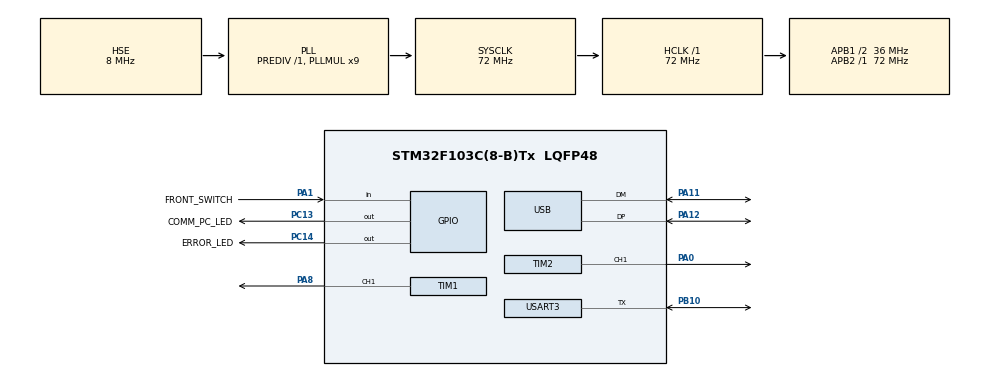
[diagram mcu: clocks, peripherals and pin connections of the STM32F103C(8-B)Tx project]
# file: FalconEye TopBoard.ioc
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Dma.Request0=TIM1_CH1
Dma.TIM1_CH1.0.Direction=DMA_MEMORY_TO_PERIPH
Dma.TIM1_CH1.0.Instance=DMA1_Channel2
Dma.TIM1_CH1.0.MemDataAlignment=DMA_MDATAALIGN_BYTE
Dma.TIM1_CH1.0.MemInc=DMA_MINC_ENABLE
Dma.TIM1_CH1.0.Mode=DMA_NORMAL
Dma.TIM1_CH1.0.PeriphDataAlignment=DMA_PDATAALIGN_HALFWORD
Dma.TIM1_CH1.0.PeriphInc=DMA_PINC_DISABLE
Dma.TIM1_CH1.0.Priority=DMA_PRIORITY_HIGH
Mcu.Family=STM32F1
Mcu.Name=STM32F103C(8-B)Tx
Mcu.Package=LQFP48
NVIC.DMA1_Channel2_IRQn=true\:0\:0\:false\:false\:true\:false\:true\:true
NVIC.PriorityGroup=NVIC_PRIORITYGROUP_4
NVIC.USB_LP_CAN1_RX0_IRQn=true\:0\:0\:false\:false\:true\:false\:true\:true
PA0-WKUP.Signal=S_TIM2_CH1_ETR
PA1.GPIO_Label=FRONT_SWITCH
PA1.Signal=GPIO_Input
PA11.Mode=Device
PA11.Signal=USB_DM
PA12.Mode=Device
PA12.Signal=USB_DP
PA8.Signal=S_TIM1_CH1
PB10.Mode=Half_duplex(single_wire_mode)
PB10.Signal=USART3_TX
PC13-TAMPER-RTC.GPIO_Label=COMM_PC_LED
PC13-TAMPER-RTC.Signal=GPIO_Output
PC14-OSC32_IN.GPIO_Label=ERROR_LED
PC14-OSC32_IN.Signal=GPIO_Output
PD0-OSC_IN.Mode=HSE-External-Oscillator
PD0-OSC_IN.Signal=RCC_OSC_IN
PD1-OSC_OUT.Mode=HSE-External-Oscillator
PD1-OSC_OUT.Signal=RCC_OSC_OUT
ProjectManager.HeapSize=0x800
ProjectManager.StackSize=0x1000
ProjectManager.TargetToolchain=STM32CubeIDE
RCC.AHBFreq_Value=72000000
RCC.APB1CLKDivider=RCC_HCLK_DIV2
RCC.APB1Freq_Value=36000000
RCC.APB1TimFreq_Value=72000000
RCC.APB2Freq_Value=72000000
RCC.APB2TimFreq_Value=72000000
RCC.HCLKFreq_Value=72000000
RCC.PLLMUL=RCC_PLL_MUL9
RCC.PLLSourceVirtual=RCC_PLLSOURCE_HSE
RCC.SYSCLKFreq_VALUE=72000000
RCC.SYSCLKSource=RCC_SYSCLKSOURCE_PLLCLK
RCC.USBFreq_Value=48000000
RCC.USBPrescaler=RCC_USBCLKSOURCE_PLL_DIV1_5
SH.S_TIM1_CH1.0=TIM1_CH1,PWM Generation1 CH1
SH.S_TIM2_CH1_ETR.0=TIM2_CH1,PWM Generation1 CH1
TIM1.Channel-PWM\ Generation1\ CH1=TIM_CHANNEL_1
TIM1.Period=75
TIM2.Channel-PWM\ Generation1\ CH1=TIM_CHANNEL_1
USART3.BaudRate=9600
USART3.VirtualMode=VM_ASYNC
USB_DEVICE.CLASS_NAME_FS=CDC
USB_DEVICE.MANUFACTURER_STRING=FalconEye
USB_DEVICE.PRODUCT_STRING_CDC_FS=FalconEye TopBoard
USB_DEVICE.VirtualMode=Cdc
USB_DEVICE.VirtualModeFS=Cdc_FS
VP_IWDG_VS_IWDG.Mode=IWDG_Activate
VP_TIM1_VS_ClockSourceINT.Mode=Internal
VP_TIM2_VS_ClockSourceINT.Mode=Internal
VP_USB_DEVICE_VS_USB_DEVICE_CDC_FS.Mode=CDC_FS
board=custom

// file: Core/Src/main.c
/* USER CODE BEGIN Header */
/**
  ******************************************************************************
  * @file           : main.c
  * @brief          : Main program body
  ******************************************************************************
  * @attention
  *
  * Copyright (c) 2023 STMicroelectronics.
  * All rights reserved.
  *
  * This software is licensed under terms that can be found in the LICENSE file
  * in the root directory of this software component.
  * If no LICENSE file comes with this software, it is provided AS-IS.
  *
  ******************************************************************************
  */
/* USER CODE END Header */
#include "main.h"
#include "dma.h"
#include "iwdg.h"
#include "tim.h"
#include "usart.h"
#include "usb_device.h"
#include "gpio.h"

/* USER CODE BEGIN Includes */
#include "ws2812b.h"
#include "ws28xx_fx.h"
#include "ds18b20.h"
#include "usbd_cdc_if.h"
#include "stdio.h"
#include "ring_buffer.h"
#include "string.h"
#include "utils.h"
#include "parser_complex.h"
#include "led_blink.h"
/* USER CODE END Includes */

/* USER CODE BEGIN PTD */
extern USBD_HandleTypeDef hUsbDeviceFS;
/* USER CODE END PTD */

/* USER CODE BEGIN PD */
#define CASE_OPEN_STATE HAL_GPIO_ReadPin(FRONT_SWITCH_GPIO_Port, FRONT_SWITCH_Pin)
/* USER CODE END PD */

/* USER CODE BEGIN PV */
const char Version[] = "1.0";

volatile uint8_t CommandToJump = 0;

int32_t Temp;
float Temperature;
uint8_t ds1[DS18B20_ROM_CODE_SIZE];
uint16_t FanPwm;
uint16_t FanSpeed;

blink_t CommPcUsb, ErrorBlink;

RingBuffer_t ReceiveBuffer;
RingBuffer_t TransmitBuffer;

uint8_t LineCounter;
uint8_t ReceivedData[RING_BUFFER_SIZE];
uint8_t TransmitData[RING_BUFFER_SIZE];

uint8_t DataToTransmit;

extern USBD_HandleTypeDef hUsbDeviceFS;

uint32_t OldTick500ms, OldTick100ms, OldTick50ms, OldTick10000ms;

volatile struct ErrorCode ErrorCode;
/* USER CODE END PV */

void SystemClock_Config(void);
/* USER CODE BEGIN PFP */
void SetLedH(uint8_t Val);
void SetLedS(uint8_t Val);
void SetLedV(uint8_t Val);
void SetLedMode(uint8_t Mode);
void SetLedDelay(uint16_t Fx, uint16_t Blink);
void SetLedRevDir(uint8_t Rev);
void SetLedGamma(uint8_t Switch);

void BootloaderJump(uint16_t Code);

void IntervalFunc10000ms(void);
void IntervalFunc500ms(void);
void IntervalFunc100ms(void);
void IntervalFunc50ms(void);

//
//Bootloader jump
//
void jump_to_application(uint32_t const app_address);
void deinit_peripherals(void);
/* USER CODE END PFP */

/* USER CODE BEGIN 0 */
void HAL_TIM_PWM_PulseFinishedCallback(TIM_HandleTypeDef *htim)
{
	if(TIM1 == htim->Instance)
	{
		HAL_TIM_PWM_Stop(&htim1, TIM_CHANNEL_1);

	}
}
/* USER CODE END 0 */

int main(void)
{
  /* USER CODE BEGIN 1 */
	__asm__ volatile("ldr r10, =0x0000");
__enable_irq(); // turn on irq
  /* USER CODE END 1 */

  /* MCU Configuration--------------------------------------------------------*/

  /* Reset of all peripherals, Initializes the Flash interface and the Systick. */
  HAL_Init();

  /* Configure the system clock */
  SystemClock_Config();

  /* Initialize all configured peripherals */
  MX_GPIO_Init();
  MX_DMA_Init();
  MX_USB_DEVICE_Init();
  MX_TIM1_Init();
  MX_USART3_UART_Init();
  MX_TIM2_Init();
  MX_IWDG_Init();
  /* USER CODE BEGIN 2 */
  OldTick500ms = HAL_GetTick();
  OldTick100ms = HAL_GetTick();
  OldTick50ms = HAL_GetTick();
  OldTick10000ms = HAL_GetTick();

  led_gamma_correction_enebled = 1;
  ws28LedFxInit(30, 100, 150, 200, 255, 2, 1);

  if (ds18b20_read_address(ds1) != HAL_OK)
  {
    ERROR_DS;
  }

  LedBlinkInit(&CommPcUsb, COMM_PC_LED_GPIO_Port, COMM_PC_LED_Pin, 20);
  LedBlinkInit(&ErrorBlink, ERROR_LED_GPIO_Port, ERROR_LED_Pin, 50);
  /* USER CODE END 2 */

  /* Infinite loop */
  /* USER CODE BEGIN WHILE */
  while (1)
  {

	  HAL_IWDG_Refresh(&hiwdg);

	  if(CommandToJump == 1)
	  {
		  jump_to_application(0x8000000);
	  }

	  if(LineCounter)
	  {
		  Parser_TakeLine(&ReceiveBuffer, ReceivedData);

		  LineCounter--;

		  Parser_parse(ReceivedData);
	  }
	  if(DataToTransmit > 0 )
	  {
		  USBD_CDC_HandleTypeDef *hcdc = (USBD_CDC_HandleTypeDef*)hUsbDeviceFS.pClassData;
		  if (hcdc->TxState == 0)
		  {
			  LedBlinkOne(&CommPcUsb);
			  UsbTransmitTask();

			  DataToTransmit--;
		  }

	  }

	  ws28Task();

	  LedBlinkTask(&CommPcUsb);
	  LedBlinkTask(&ErrorBlink);

	  IntervalFunc100ms();
	  IntervalFunc500ms();
	  IntervalFunc50ms();
	  IntervalFunc10000ms();
    /* USER CODE END WHILE */

  }
}

void SystemClock_Config(void)
{
  RCC_OscInitTypeDef RCC_OscInitStruct = {0};
  RCC_ClkInitTypeDef RCC_ClkInitStruct = {0};
  RCC_PeriphCLKInitTypeDef PeriphClkInit = {0};

  /** Initializes the RCC Oscillators according to the specified parameters
  * in the RCC_OscInitTypeDef structure.
  */
  RCC_OscInitStruct.OscillatorType = RCC_OSCILLATORTYPE_LSI|RCC_OSCILLATORTYPE_HSE;
  RCC_OscInitStruct.HSEState = RCC_HSE_ON;
  RCC_OscInitStruct.HSEPredivValue = RCC_HSE_PREDIV_DIV1;
  RCC_OscInitStruct.HSIState = RCC_HSI_ON;
  RCC_OscInitStruct.LSIState = RCC_LSI_ON;
  RCC_OscInitStruct.PLL.PLLState = RCC_PLL_ON;
  RCC_OscInitStruct.PLL.PLLSource = RCC_PLLSOURCE_HSE;
  RCC_OscInitStruct.PLL.PLLMUL = RCC_PLL_MUL9;
  if (HAL_RCC_OscConfig(&RCC_OscInitStruct) != HAL_OK)
  {
    Error_Handler();
  }

  /** Initializes the CPU, AHB and APB buses clocks
  */
  RCC_ClkInitStruct.ClockType = RCC_CLOCKTYPE_HCLK|RCC_CLOCKTYPE_SYSCLK
                              |RCC_CLOCKTYPE_PCLK1|RCC_CLOCKTYPE_PCLK2;
  RCC_ClkInitStruct.SYSCLKSource = RCC_SYSCLKSOURCE_PLLCLK;
  RCC_ClkInitStruct.AHBCLKDivider = RCC_SYSCLK_DIV1;
  RCC_ClkInitStruct.APB1CLKDivider = RCC_HCLK_DIV2;
  RCC_ClkInitStruct.APB2CLKDivider = RCC_HCLK_DIV1;

  if (HAL_RCC_ClockConfig(&RCC_ClkInitStruct, FLASH_LATENCY_2) != HAL_OK)
  {
    Error_Handler();
  }
  PeriphClkInit.PeriphClockSelection = RCC_PERIPHCLK_USB;
  PeriphClkInit.UsbClockSelection = RCC_USBCLKSOURCE_PLL_DIV1_5;
  if (HAL_RCCEx_PeriphCLKConfig(&PeriphClkInit) != HAL_OK)
  {
    Error_Handler();
  }
}

/* USER CODE BEGIN 4 */
void SetLedH(uint8_t Val)
{
	ws28xxFx.h = Val;
}
void SetLedS(uint8_t Val)
{
	ws28xxFx.s = Val;
}
void SetLedV(uint8_t Val)
{
	ws28xxFx.v = Val;
}
void SetLedMode(uint8_t Mode)
{
	ws28xxFx.Mode = Mode;
}
void SetLedDelay(uint16_t Fx, uint16_t Blink)
{
	ws28xxFx.FxDelay = Fx;
	ws28xxFx.BlinkDelay = Blink;
}
void SetLedRevDir(uint8_t Rev)
{
	ws28xxFx.ReverseDirection = Rev;
}
void SetLedGamma(uint8_t Switch)
{
	led_gamma_correction_enebled = Switch;
}

void BootloaderJump(uint16_t Code)
{
	if(Code == 1234)
	CommandToJump = 1;
}

void IntervalFunc10000ms(void)
{
	if(HAL_GetTick() - OldTick10000ms >10000)
	{
		char MsgToSend[255];

		sprintf(MsgToSend, "10/0x%lx%lx%lx/%s",
				HAL_GetUIDw2(),
				HAL_GetUIDw1(),
				HAL_GetUIDw0(),
				Version);
		UsbBuffWrite(MsgToSend);
		OldTick10000ms = HAL_GetTick();
	}
}

void IntervalFunc100ms(void)
{
	if(HAL_GetTick() - OldTick100ms >100)
	{
		char MsgToSend[255];

		sprintf(MsgToSend, "0/%u/%u/%u/%u/%u/%u/%u/%u",
				ws28xxFx.h,
				ws28xxFx.s,
				ws28xxFx.v,
				ws28xxFx.Mode,
				ws28xxFx.FxDelay,
				ws28xxFx.BlinkDelay,
				ws28xxFx.ReverseDirection,
				led_gamma_correction_enebled);
		UsbBuffWrite(MsgToSend);

//		char TemperatureBuff[8];
//		Temperature100ToString(Temp, TemperatureBuff);

		sprintf(MsgToSend, "1/%.2f/%u/%u/%u/%u",
				Temperature,
				FanPwm,
				FanSpeed,
				CASE_OPEN_STATE,
				ErrorCode.Error);
		UsbBuffWrite(MsgToSend);

		OldTick100ms = HAL_GetTick();
	}
}

void IntervalFunc500ms(void)
{
	  if(HAL_GetTick() - OldTick500ms >500)
	  {
		  OldTick500ms = HAL_GetTick();

		  static uint8_t TempMeasureFlag = 0;
		  if(!TempMeasureFlag)
		  {
			  if(ds18b20_start_measure(NULL) != HAL_OK) ERROR_DS;
			  TempMeasureFlag = 1;
		  }
		  else
		  {
			  Temp = ds18b20_get_temp_wo_fp(NULL);
			  Temperature = Temp;
			  Temperature = Temperature/100;
			  TempMeasureFlag = 0;
		  }
	  }
}

void IntervalFunc50ms(void)
{
	if(HAL_GetTick() - OldTick50ms >50)
	{

		OldTick50ms = HAL_GetTick();
	}
}

void CDC_ReveiveCallback(uint8_t *Buffer, uint8_t Length)
{
	if(Length > 0)
	{
		uint8_t i = 0;
		LedBlinkOne(&CommPcUsb); //Control Led
		while(i < Length)
		{
		if (RB_OK == Ring_Buffer_Write(&ReceiveBuffer, Buffer[i]))
		{
			if(Buffer[i] == ENDLINE)
			{
				LineCounter++;
			}
		}
		else
		{
			Ring_Buffer_Flush(&ReceiveBuffer);
			UsbBuffWrite("ERROR");
		}
		i++;
		}
	}
}

void UsbBuffWrite(char * Message)
{

	DataToTransmit++;
	for(uint8_t y = 0 ; y < strlen(Message) ; y++)
	{
		if(RB_OK == Ring_Buffer_Write(&TransmitBuffer, Message[y]))
		{

		}
		else
		{
			Ring_Buffer_Flush(&TransmitBuffer);
			DataToTransmit--;
		}
	}

	if(RB_OK == Ring_Buffer_Write(&TransmitBuffer, '^'))
	{

	}
	else
	{
		Ring_Buffer_Flush(&TransmitBuffer);
		DataToTransmit--;
	}

}

void UsbTransmitTask(void)
{
	uint8_t i = 0;
	uint8_t tmp = 0;
		do
		{
			if(Ring_Buffer_Read(&TransmitBuffer, &tmp) == RB_OK)
			{
			TransmitData[i] = tmp;
			i++;
			}
			else
			{
				break;
			}

		} while(tmp != '^');

		CDC_Transmit_FS(TransmitData, i);
}

void deinit_peripherals(void)
{

	__disable_irq();
	NVIC_DisableIRQ(USB_LP_CAN1_RX0_IRQn);
	USBD_Stop(&hUsbDeviceFS);
	USBD_DeInit(&hUsbDeviceFS);
	__HAL_RCC_USB_CLK_DISABLE();
	memset(&hUsbDeviceFS, 0, sizeof(USBD_HandleTypeDef));

	  HAL_GPIO_DeInit(COMM_PC_LED_GPIO_Port, COMM_PC_LED_Pin);
	  HAL_GPIO_DeInit(ERROR_LED_GPIO_Port, ERROR_LED_Pin);
	  HAL_GPIO_DeInit(FRONT_SWITCH_GPIO_Port, FRONT_SWITCH_Pin);
	  //DMA Deinit
	  __HAL_RCC_DMA1_CLK_DISABLE();
	  HAL_NVIC_DisableIRQ(DMA1_Channel2_IRQn);
	  //TIM Deinit
	  __HAL_RCC_TIM1_CLK_DISABLE();
	  __HAL_RCC_TIM2_CLK_DISABLE();

	  HAL_UART_DeInit(&huart3);

	  HAL_DeInit();

	  IWDG->KR = 0xAAAA; //Unlock key Register
	  IWDG->KR = 0x0000; //Deactive IWDG

	  SysTick->CTRL = 0;
	  SysTick->LOAD = 0;
	  SysTick->VAL = 0;

}

void jump_to_application(uint32_t const app_address) {
	for (uint8_t i = 0; i < 8; i++) {
	        NVIC->ICER[i] = 0xFFFFFFFF;
	    }
  typedef void (*jumpFunction)(); // helper-typedef
  uint32_t const jumpAddress = *(__IO uint32_t*) (app_address + 4); // Address of application's Reset Handler
  jumpFunction runApplication =  jumpAddress; // Function we'll use to jump to application

  deinit_peripherals(); // Deinitialization of peripherals and systick

  __set_MSP(*((__IO uint32_t*) app_address)); // Stack pointer setup
  __asm__ volatile("ldr r10, =0x1234");
  runApplication(); // Jump to application
}
/* USER CODE END 4 */

void Error_Handler(void)
{
  __disable_irq();
  while (1)
  {
  }
}
